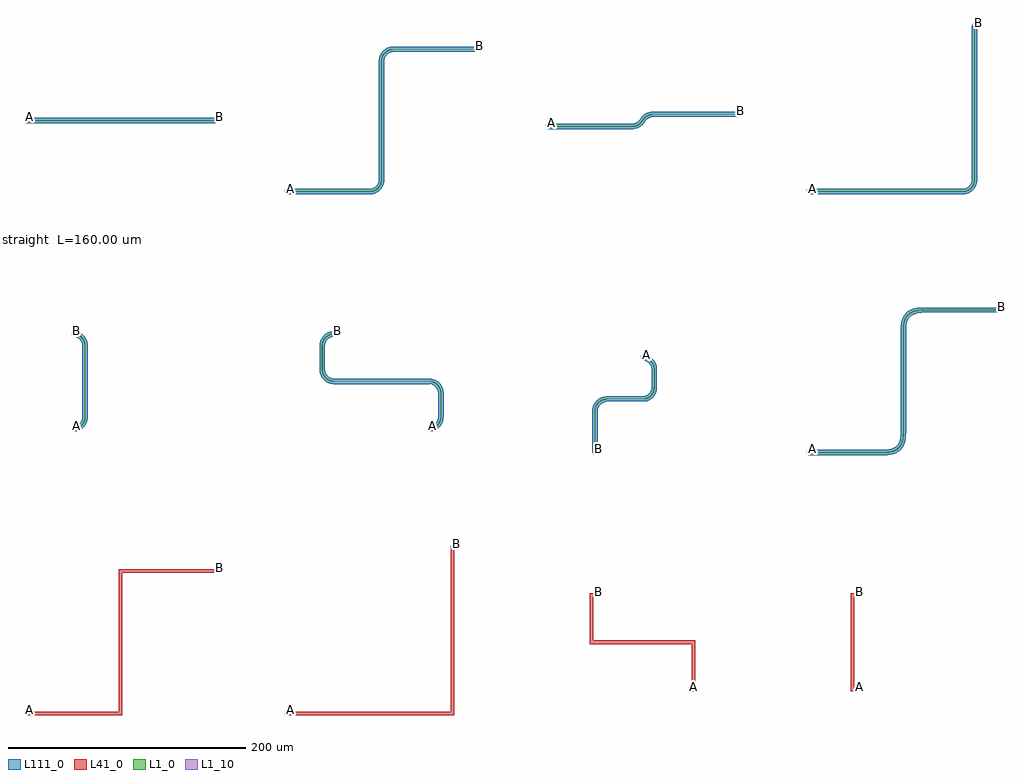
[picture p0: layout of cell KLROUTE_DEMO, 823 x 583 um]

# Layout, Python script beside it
"""
Generate demo.gds showing every route topology.

    python examples/demo.py            (needs "pip install klayout")
or inside KLayout: File > Macro Development, open and run this file.
"""

import os
import sys

HERE = os.path.dirname(os.path.abspath(__file__))
sys.path.insert(0, os.path.join(HERE, "..", "python"))

try:
    import pya as db
except ImportError:
    import klayout.db as db

from klroute import RouteSpec, draw_route  # noqa: E402

ly = db.Layout()
ly.dbu = 0.001
top = ly.create_cell("KLROUTE_DEMO")
WG, CLAD, M1, PIN, TXT = (ly.layer(1, 0), ly.layer(111, 0), ly.layer(41, 0), ly.layer(1, 10), ly.layer(10, 0))

wg = RouteSpec(kind="waveguide", width=0.5, radius=10.0, cladding=2.0)
euler = RouteSpec(kind="waveguide", width=0.5, radius=10.0, bend="euler", cladding=2.0)
metal = RouteSpec(kind="metal", width=3.0)

# (label, spec, A, B, leave A towards, leave B towards)   -- each case in its own 200 x 200 um tile
cases = [
    ("straight", wg, (20, 100), (180, 100), "auto", "auto"),
    ("Z auto", wg, (20, 40), (180, 160), "auto", "auto"),
    ("S small offset", wg, (20, 95), (180, 105), "E", "W"),
    ("L", wg, (20, 40), (160, 180), "E", "S"),
    ("U turn", wg, (60, 60), (60, 140), "E", "E"),
    ("loop back", wg, (140, 60), (60, 140), "E", "W"),
    ("around (3 bends)", wg, (100, 120), (60, 40), "E", "N"),
    ("Euler Z", euler, (20, 40), (180, 160), "E", "W"),
    ("metal Z", metal, (20, 40), (180, 160), "auto", "auto"),
    ("metal L", metal, (20, 40), (160, 180), "E", "S"),
    ("metal loop", metal, (140, 60), (60, 140), "E", "W"),
    ("metal U", metal, (60, 60), (60, 140), "W", "W"),
]

for i, (label, spec, a, b, sd, ed) in enumerate(cases):
    ox, oy = 220 * (i % 4), -220 * (i // 4)
    a = db.DPoint(a[0] + ox, a[1] + oy)
    b = db.DPoint(b[0] + ox, b[1] + oy)
    layer = WG if spec.is_waveguide else M1
    rt = draw_route(top, layer, a, b, spec, sd, ed, cladding_layer=CLAD)
    for p in (a, b):
        top.shapes(PIN).insert(db.DBox(p.x - 1.5, p.y - 1.5, p.x + 1.5, p.y + 1.5))
    top.shapes(TXT).insert(db.DText("%s  L=%.2f um" % (label, rt.length), db.DTrans(ox + 5, oy + 5)))
    top.shapes(TXT).insert(db.DText("A", db.DTrans(a.x + 3, a.y + 3)))
    top.shapes(TXT).insert(db.DText("B", db.DTrans(b.x + 3, b.y + 3)))
    print("%-18s %s->%s  bends=%d  length=%.3f um" % (label, rt.start_dir, rt.end_dir, rt.bends, rt.length))

out = os.path.join(HERE, "demo.gds")
ly.write(out)
print("wrote", out)
